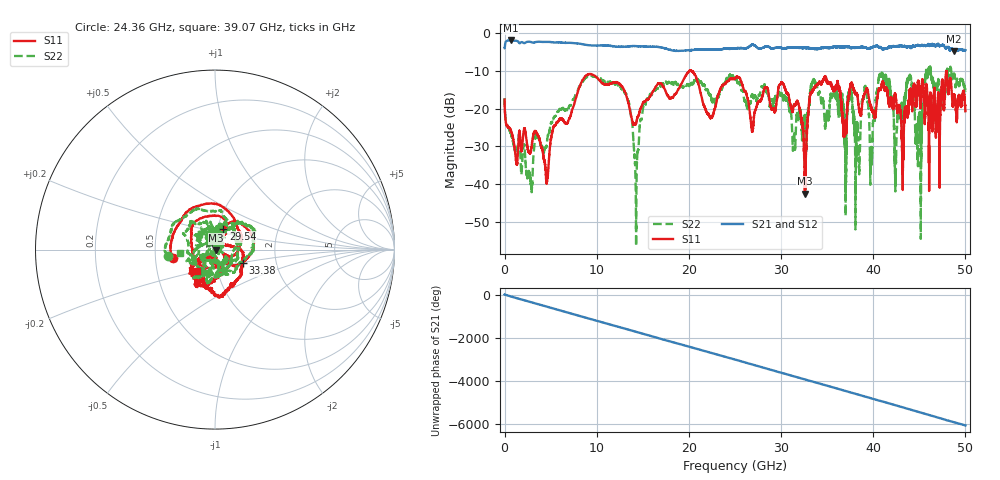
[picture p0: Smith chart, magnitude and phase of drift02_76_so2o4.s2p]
!Created with skrf (http://scikit-rf.org).
# Hz S RI R 50.0
!freq ReS11 ImS11 ReS21 ImS21 ReS12 ImS12 ReS22 ImS22
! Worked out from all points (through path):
!   10001 points, 300 kHz to 50 GHz, reference 50 ohm
!   highest |S21| = -1.99 dB at 645.3 MHz (marker M1); lowest = -4.8 dB at 48.77 GHz (marker M2)
!   group delay of S21, straight-line fit = 337 ps
!   lowest |S11| = -42.4 dB at 32.59 GHz (marker M3), VSWR 1.02, Z = 50.6 - j0.474 ohm
!   |S11| at or under -10 dB: start of sweep to 20.07 GHz; 20.20729 GHz to 20.22173 GHz (14.44 MHz wide, 0.0714 % of centre); 20.24 GHz to end of sweep (the widest 3 of 5)
!   |S22| runs from -56.3 to -8.9 dB; largest |S21 - S12| = 0.033
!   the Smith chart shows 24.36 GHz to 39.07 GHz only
!   S11 on the Smith chart (normalised r, x): 24.36 GHz: 0.62, -0.06; 29.54 GHz: 1.07, +0.25; 33.38 GHz: 1.35, -0.21; 39.07 GHz: 0.80, -0.20
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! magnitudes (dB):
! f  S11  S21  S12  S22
! 300 kHz  -17.6  -4.0  -4.0  -17.3
! 645.3 MHz  -25.6  -2.0  -2.0  -26.5
! 4.565 GHz  -39.9  -2.4  -2.4  -29.4
! 8.335 GHz  -13.0  -2.9  -2.9  -13.2
! 13.01 GHz  -15.3  -3.6  -3.6  -15.8
! 14.28 GHz  -23.8  -3.5  -3.5  -50.2
! 16.67 GHz  -13.3  -3.7  -3.7  -14.5
! 24.36 GHz  -12.5  -4.2  -4.2  -11.5
! 25 GHz  -12.1  -4.1  -4.1  -12.1
! 29.54 GHz  -18.1  -3.8  -3.9  -17.0
! 32.59 GHz  -42.4  -3.9  -3.9  -25.0
! 33.34 GHz  -15.7  -4.0  -4.1  -13.4
! 33.38 GHz  -15.2  -4.0  -4.1  -13.1
! 38.29 GHz  -16.7  -3.9  -3.9  -24.1
! 39.07 GHz  -16.1  -3.8  -3.8  -14.3
! 39.8 GHz  -19.9  -4.0  -3.9  -31.3
! 41.67 GHz  -18.2  -3.8  -3.9  -12.8
! 42.46 GHz  -17.2  -3.6  -3.6  -34.3
! 43.87 GHz  -18.4  -3.6  -3.6  -11.8
! 44.99 GHz  -14.3  -3.3  -3.3  -20.8
! 48.77 GHz  -16.8  -4.8  -4.8  -10.8
! 50 GHz  -20.7  -4.6  -4.6  -15.3
